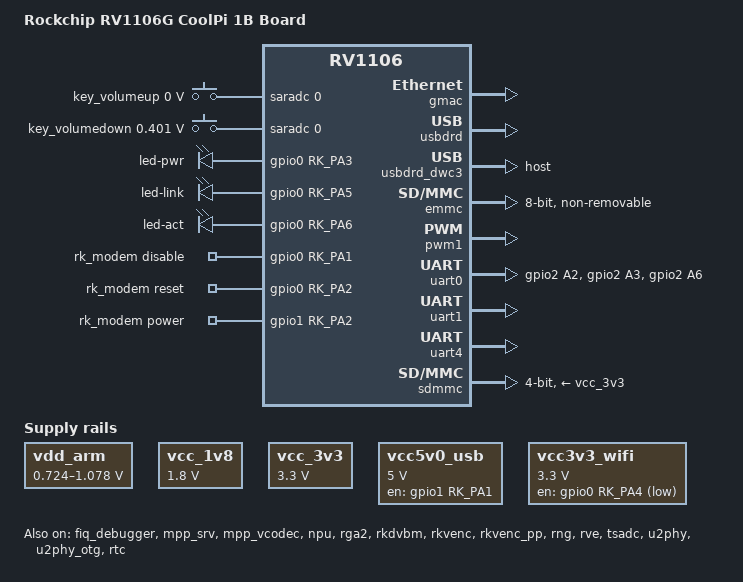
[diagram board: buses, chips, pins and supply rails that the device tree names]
// SPDX-License-Identifier: (GPL-2.0+ OR MIT)
/*
 * Copyright (c) 2022 Rockchip Electronics Co., Ltd.
 */

/dts-v1/;

#include "rv1106.dtsi"
#include "rv1106-amp.dtsi"
#include <dt-bindings/input/input.h>

/ {
	model = "Rockchip RV1106G CoolPi 1B Board";
	compatible = "rockchip,rv1106";
	
	adc-keys {
		compatible = "adc-keys";
		io-channels = <&saradc 0>;
		io-channel-names = "buttons";
		poll-interval = <100>;
		keyup-threshold-microvolt = <1800000>;

		key_volumeup-key {
			label = "key_volumeup";
			linux,code = <KEY_VOLUMEUP>;
			press-threshold-microvolt = <0>;
		};
		
		key_volumedown-key {
			label = "key_volumedown";
			linux,code = <KEY_VOLUMEDOWN>;
			press-threshold-microvolt = <400781>;
		};
	};

	restart-poweroff {
		compatible = "restart-poweroff";
	};

	vdd_arm: vdd-arm {
		compatible = "pwm-regulator";
		pwms = <&pwm1 0 5000 1>;
		regulator-name = "vdd_arm";
		regulator-min-microvolt = <724000>;
		regulator-max-microvolt = <1078000>;
		regulator-init-microvolt = <950000>;
		regulator-always-on;
		regulator-boot-on;
		regulator-settling-time-up-us = <250>;
	};

	vcc_1v8: vcc-1v8 {
		compatible = "regulator-fixed";
		regulator-name = "vcc_1v8";
		regulator-always-on;
		regulator-boot-on;
		regulator-min-microvolt = <1800000>;
		regulator-max-microvolt = <1800000>;
	};

	vcc_3v3: vcc-3v3 {
		compatible = "regulator-fixed";
		regulator-name = "vcc_3v3";
		regulator-always-on;
		regulator-boot-on;
		regulator-min-microvolt = <3300000>;
		regulator-max-microvolt = <3300000>;
	};

	vcc5v0_usb: vcc5v0-usb {
		compatible = "regulator-fixed";
		regulator-name = "vcc5v0_usb";
		regulator-min-microvolt = <5000000>;
		regulator-max-microvolt = <5000000>;
		enable-active-high;
		gpio = <&gpio1 RK_PA1 GPIO_ACTIVE_HIGH>;
		pinctrl-names = "default";
		pinctrl-0 = <&usb_pwren &usb_sel>;
	};
	
	vcc3v3_wifi: vcc3v3-wifi {
		compatible = "regulator-fixed";
		regulator-name = "vcc3v3_wifi";
		regulator-min-microvolt = <3300000>;
		regulator-max-microvolt = <3300000>;
		enable-active-low;
		regulator-always-on;
		regulator-boot-on;
		gpio = <&gpio0 RK_PA4 GPIO_ACTIVE_LOW>;
		pinctrl-names = "default";
		pinctrl-0 = <&wifi_pwr>;
	};
	
	leds: leds {
	status = "okay";
	compatible = "gpio-leds";

		led_pwr: led-pwr {
			label = "led-pwr";
			gpios = <&gpio0 RK_PA3 GPIO_ACTIVE_HIGH>;
			linux,default-trigger = "heartbeat";
		};
		
		led_link: led-link {
			label = "led-link";
			gpios = <&gpio0 RK_PA5 GPIO_ACTIVE_HIGH>;
			linux,default-trigger = "stmmac-0:02:link";
			default-state = "off";
		};
		
		led_act: led-act {
			label = "led-act";
			gpios = <&gpio0 RK_PA6 GPIO_ACTIVE_HIGH>;
			linux,default-trigger = "stmmac-0:02:100Mbps";
			default-state = "off";
		};		
	};
	
	rk_modem: rk-modem {
		compatible="4g-modem-platdata";
		pinctrl-names = "default";
		pinctrl-0 = <&lte_disable &lte_power_en &lte_reset>;
		4G,disable-gpio  = <&gpio0 RK_PA1 GPIO_ACTIVE_HIGH>;
		4G,reset-gpio = <&gpio0 RK_PA2 GPIO_ACTIVE_HIGH>;
		4G,power-gpio = <&gpio1 RK_PA2 GPIO_ACTIVE_HIGH>;
		status = "okay";
	};
};

&fiq_debugger {
	rockchip,irq-mode-enable = <1>;
	status = "okay";
};

&gmac {
	status = "okay";
};

&mpp_srv {
	status = "okay";
};

&mpp_vcodec {
	status = "okay";
};

&npu {
	status = "okay";
};

&rga2 {
	status = "okay";
};

&rkdvbm {
	status = "okay";
};

&rkvenc {
	status = "okay";
};

&rkvenc_pp {
	status = "okay";
};

&rmii_phy {
	bgs,increment = <0>;
};

&rng {
	status = "okay";
};

&rve {
	status = "okay";
};

&tsadc {
	status = "okay";
};

&u2phy {
	status = "okay";
};

&u2phy_otg {
	status = "okay";
};

&usbdrd {
	status = "okay";
};

&usbdrd_dwc3 {
	extcon = <&u2phy>;
	dr_mode = "host";
	status = "okay";
};

&cpu0 {
	cpu-supply = <&vdd_arm>;
};

&emmc {
	bus-width = <8>;
	cap-mmc-highspeed;
	non-removable;
//	mmc-ddr-1_8v;
//	mmc-hs200-1_8v;
	rockchip,default-sample-phase = <90>;
	no-sdio;
	no-sd;
	status = "okay";
};

&pwm1 {
	pinctrl-names = "active";
	pinctrl-0 = <&pwm1m2_pins>;
	status = "okay";
};

&rtc {
	status = "okay";
};

&uart0 {
	status = "okay";
	pinctrl-names = "default";
	pinctrl-0 = <&uart0m1_xfer &lora_m0 &lora_m1 &lora_aux>;
};

&uart1 {
	status = "okay";
	pinctrl-names = "default";
	pinctrl-0 = <&uart1m0_xfer>;
};

&uart4 {
	status = "okay";
	pinctrl-names = "default";
	pinctrl-0 = <&uart4m0_xfer>;
};

&sdmmc {
	max-frequency = <200000000>;
	no-sdio;
	no-mmc;
	bus-width = <4>;
	cap-mmc-highspeed;
	cap-sd-highspeed;
	disable-wp;
	pinctrl-names = "normal", "idle";
	pinctrl-0 = <&sdmmc0_clk &sdmmc0_cmd &sdmmc0_det &sdmmc0_bus4>;
	pinctrl-1 = <&sdmmc0_idle_pins &sdmmc0_det>;
	sd-uhs-sdr12;
	sd-uhs-sdr25;
	sd-uhs-sdr50;
	sd-uhs-sdr104;
	vmmc-supply = <&vcc_3v3>;
	vqmmc-supply = <&vcc_3v3>;
	status = "okay";
};

&u2phy_otg {
	vbus-supply = <&vcc5v0_usb>;
};

&pinctrl {

	lora {
		lora_m0: lora-m0 {
			rockchip,pins = <2 RK_PA2 RK_FUNC_GPIO &pcfg_pull_none>;
		};
		
		lora_m1: lora-m1 {
			rockchip,pins = <2 RK_PA3 RK_FUNC_GPIO &pcfg_pull_none>;
		};
		
		lora_aux: lora-aux {
			rockchip,pins = <2 RK_PA6 RK_FUNC_GPIO &pcfg_pull_none>;
		};
	};
	
	usb {
		usb_pwren: usb-pwren {
			rockchip,pins = <1 RK_PA1 RK_FUNC_GPIO &pcfg_pull_none>;
		};
		
		usb_sel: usb-sel {
			rockchip,pins = <1 RK_PA0 RK_FUNC_GPIO &pcfg_output_low>;
		};
		
		wifi_pwr: wifi-pwr {
			rockchip,pins = <0 RK_PA4 RK_FUNC_GPIO &pcfg_pull_none>;
		};
	};
	
	rk-modem {
		lte_disable: lte-disable {
			rockchip,pins = <0 RK_PA1 RK_FUNC_GPIO &pcfg_pull_up>;
		};

		lte_power_en: lte-power-en {
			rockchip,pins = <1 RK_PA2 RK_FUNC_GPIO &pcfg_pull_up>;
		};

		lte_reset: lte-reset {
			rockchip,pins = <0 RK_PA2 RK_FUNC_GPIO &pcfg_pull_up>;
		};
	};
};

